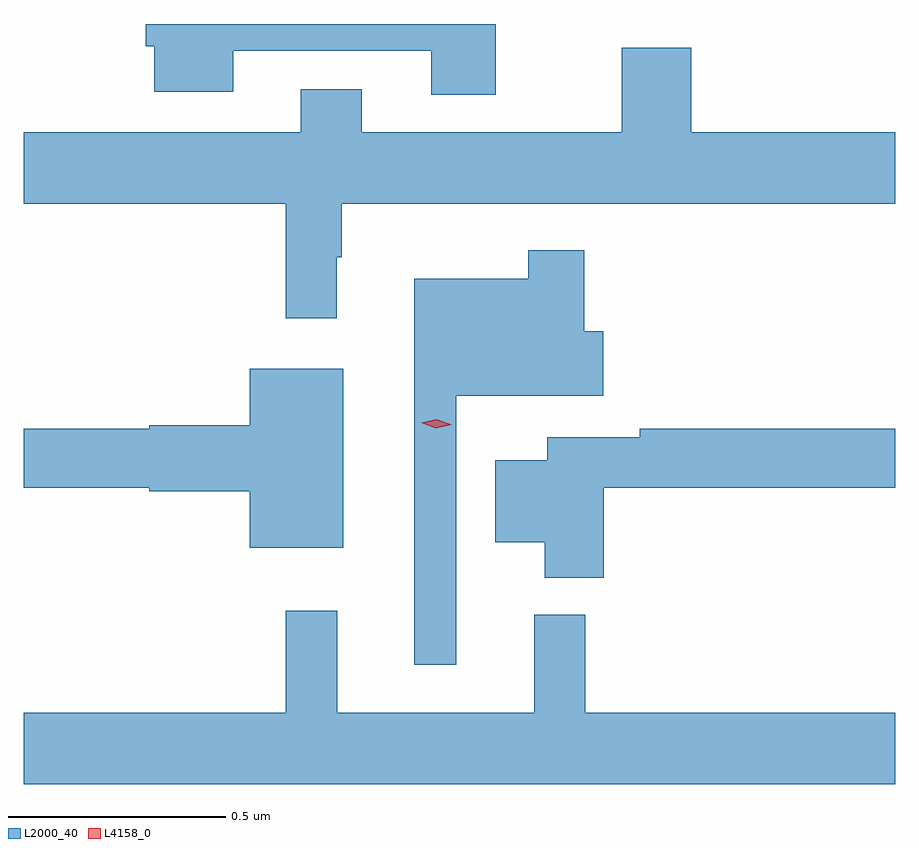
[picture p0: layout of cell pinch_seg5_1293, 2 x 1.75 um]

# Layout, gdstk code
import gdstk
lib = gdstk.Library(unit=1e-6, precision=1e-09)
def P(c, l, *ps):  # polygons
    for p in ps: c.add(gdstk.Polygon(p, *l))
L2000_40 = (2000, 40)
L4158_0 = (4158, 0)

pinch_seg5_1293 = lib.new_cell('pinch_seg5_1293')
P(pinch_seg5_1293, L2000_40, [(468.951,869.161),(468.148,869.161),(468.148,869.11),(468.167,869.11),(468.167,869.006),(468.349,869.006),(468.349,869.1),(468.803,869.1),(468.803,868.998),(468.951,868.998)],
  [(468.586,868.625),(468.598,868.625),(468.598,868.748),(469.868,868.748),(469.868,868.912),(469.4,868.912),(469.4,869.107),(469.24,869.107),(469.24,868.912),(468.643,868.912),(468.643,869.011),(468.503,869.011),(468.503,868.912),(467.868,868.912),(467.868,868.748),(468.469,868.748),(468.469,868.485),(468.586,868.485)],
  [(468.861,868.307),(469.198,868.307),(469.198,868.455),(469.154,868.455),(469.154,868.642),(469.026,868.642),(469.026,868.576),(468.764,868.576),(468.764,867.69),(468.861,867.69)],
  [(468.601,868.369),(468.386,868.369),(468.386,868.24),(468.156,868.24),(468.156,868.232),(467.868,868.232),(467.868,868.096),(468.156,868.096),(468.156,868.088),(468.386,868.088),(468.386,867.959),(468.601,867.959)],
  [(469.199,868.096),(469.868,868.096),(469.868,868.232),(469.282,868.232),(469.282,868.212),(469.07,868.212),(469.07,868.159),(468.95,868.159),(468.95,867.971),(469.064,867.971),(469.064,867.89),(469.199,867.89)],
  [(469.868,867.58),(469.157,867.58),(469.157,867.805),(469.04,867.805),(469.04,867.58),(468.587,867.58),(468.587,867.814),(468.469,867.814),(468.469,867.58),(467.868,867.58),(467.868,867.416),(469.868,867.416)])
P(pinch_seg5_1293, L4158_0, [(468.814,868.233),(468.78,868.245),(468.78,868.245),(468.78,868.245),(468.816,868.253),(468.85,868.241),(468.85,868.241),(468.85,868.241)])

lib.write_gds('pinch_seg5_1293.gds')
